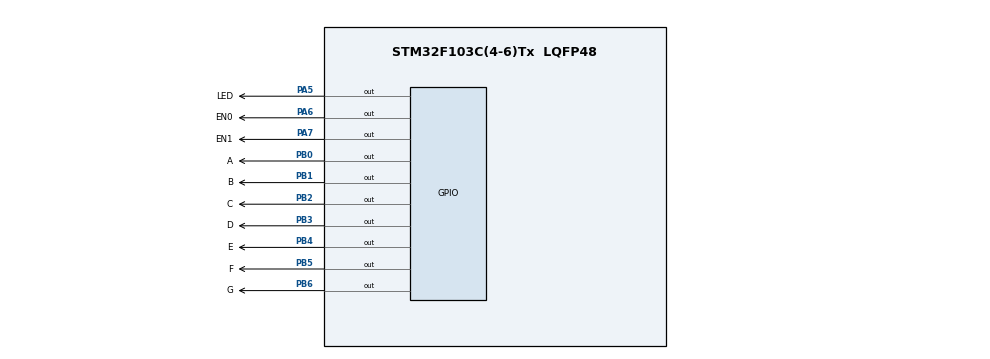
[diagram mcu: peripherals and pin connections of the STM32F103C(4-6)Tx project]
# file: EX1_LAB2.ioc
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Mcu.Family=STM32F1
Mcu.Name=STM32F103C(4-6)Tx
Mcu.Package=LQFP48
NVIC.PriorityGroup=NVIC_PRIORITYGROUP_4
NVIC.TIM2_IRQn=true\:0\:0\:false\:false\:true\:true\:true\:true
PA5.GPIO_Label=LED
PA5.PinState=GPIO_PIN_RESET
PA5.Signal=GPIO_Output
PA6.GPIO_Label=EN0
PA6.PinState=GPIO_PIN_SET
PA6.Signal=GPIO_Output
PA7.GPIO_Label=EN1
PA7.PinState=GPIO_PIN_SET
PA7.Signal=GPIO_Output
PB0.GPIO_Label=A
PB0.PinState=GPIO_PIN_SET
PB0.Signal=GPIO_Output
PB1.GPIO_Label=B
PB1.PinState=GPIO_PIN_SET
PB1.Signal=GPIO_Output
PB2.GPIO_Label=C
PB2.PinState=GPIO_PIN_SET
PB2.Signal=GPIO_Output
PB3.GPIO_Label=D
PB3.PinState=GPIO_PIN_SET
PB3.Signal=GPIO_Output
PB4.GPIO_Label=E
PB4.PinState=GPIO_PIN_SET
PB4.Signal=GPIO_Output
PB5.GPIO_Label=F
PB5.PinState=GPIO_PIN_SET
PB5.Signal=GPIO_Output
PB6.GPIO_Label=G
PB6.PinState=GPIO_PIN_SET
PB6.Signal=GPIO_Output
ProjectManager.HeapSize=0x200
ProjectManager.StackSize=0x400
ProjectManager.TargetToolchain=STM32CubeIDE
RCC.APB1Freq_Value=8000000
RCC.APB2Freq_Value=8000000
TIM2.Period=9
TIM2.Prescaler=7999
VP_SYS_VS_ND.Mode=No_Debug
VP_TIM2_VS_ClockSourceINT.Mode=Internal
board=custom

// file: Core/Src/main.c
/* USER CODE BEGIN Header */
/**
  ******************************************************************************
  * @file           : main.c
  * @brief          : Main program body
  ******************************************************************************
  * @attention
  *
  * Copyright (c) 2025 STMicroelectronics.
  * All rights reserved.
  *
  * This software is licensed under terms that can be found in the LICENSE file
  * in the root directory of this software component.
  * If no LICENSE file comes with this software, it is provided AS-IS.
  *
  ******************************************************************************
  */
/* USER CODE END Header */
#include "main.h"

TIM_HandleTypeDef htim2;

void SystemClock_Config(void);
static void MX_GPIO_Init(void);
static void MX_TIM2_Init(void);

/* USER CODE BEGIN 0 */
#define SEG_ALL_PINS (GPIO_PIN_0 | GPIO_PIN_1 | GPIO_PIN_2 | \
                      GPIO_PIN_3 | GPIO_PIN_4 | GPIO_PIN_5 | \
                      GPIO_PIN_6)

#define DIGIT_ALL_PINS (GPIO_PIN_6 | GPIO_PIN_7)

/*
 * Bit 0 → segment a
 * Bit 1 → segment b
 * ...
 * Bit 6 → segment g
 *
 * Bit bằng 1 nghĩa là segment cần sáng.
 */
static const uint8_t segPattern[10] =
{
    0x3FU, // 0
    0x06U, // 1
    0x5BU, // 2
    0x4FU, // 3
    0x66U, // 4
    0x6DU, // 5
    0x7DU, // 6
    0x07U, // 7
    0x7FU, // 8
    0x6FU  // 9
};

static uint8_t currentDigit = 0U;
static uint8_t timerCounter = 0U;
static uint8_t currentNumber = 0U;

static void disableAllDigits(void)
{
    HAL_GPIO_WritePin(
        GPIOA,
        DIGIT_ALL_PINS,
        GPIO_PIN_SET
    );
}

static void display7SEG(uint8_t number)
{
    if (number > 9U)
    {
        return;
    }

    HAL_GPIO_WritePin(
        GPIOB,
        SEG_ALL_PINS,
        GPIO_PIN_SET
    );

    HAL_GPIO_WritePin(
        GPIOB,
        (uint16_t)segPattern[number],
        GPIO_PIN_RESET
    );
}

static void update7SEG_EX1(uint8_t index, uint8_t number)
{
    if (index > 1U || number > 9U)
    {
        return;
    }

    disableAllDigits();

    display7SEG(number);

    if (index == 0U)
    {
        HAL_GPIO_WritePin(
            GPIOA,
            GPIO_PIN_6,
            GPIO_PIN_RESET
        );
    }
    else
    {
        HAL_GPIO_WritePin(
            GPIOA,
            GPIO_PIN_7,
            GPIO_PIN_RESET
        );
    }
}
/* USER CODE END 0 */

int main(void)
{

  /* MCU Configuration--------------------------------------------------------*/

  /* Reset of all peripherals, Initializes the Flash interface and the Systick. */
  HAL_Init();

  /* Configure the system clock */
  SystemClock_Config();

  /* Initialize all configured peripherals */
  MX_GPIO_Init();
  MX_TIM2_Init();
  /* USER CODE BEGIN 2 */
  disableAllDigits();

  currentDigit = 0U;
  currentNumber = 0U;
  update7SEG_EX1(currentDigit, currentNumber);

  HAL_TIM_Base_Start_IT(&htim2);
  /* USER CODE END 2 */

  /* Infinite loop */
  while (1)
  {

  }
}

void SystemClock_Config(void)
{
  RCC_OscInitTypeDef RCC_OscInitStruct = {0};
  RCC_ClkInitTypeDef RCC_ClkInitStruct = {0};

  /** Initializes the RCC Oscillators according to the specified parameters
  * in the RCC_OscInitTypeDef structure.
  */
  RCC_OscInitStruct.OscillatorType = RCC_OSCILLATORTYPE_HSI;
  RCC_OscInitStruct.HSIState = RCC_HSI_ON;
  RCC_OscInitStruct.HSICalibrationValue = RCC_HSICALIBRATION_DEFAULT;
  RCC_OscInitStruct.PLL.PLLState = RCC_PLL_NONE;
  if (HAL_RCC_OscConfig(&RCC_OscInitStruct) != HAL_OK)
  {
    Error_Handler();
  }

  /** Initializes the CPU, AHB and APB buses clocks
  */
  RCC_ClkInitStruct.ClockType = RCC_CLOCKTYPE_HCLK|RCC_CLOCKTYPE_SYSCLK
                              |RCC_CLOCKTYPE_PCLK1|RCC_CLOCKTYPE_PCLK2;
  RCC_ClkInitStruct.SYSCLKSource = RCC_SYSCLKSOURCE_HSI;
  RCC_ClkInitStruct.AHBCLKDivider = RCC_SYSCLK_DIV1;
  RCC_ClkInitStruct.APB1CLKDivider = RCC_HCLK_DIV1;
  RCC_ClkInitStruct.APB2CLKDivider = RCC_HCLK_DIV1;

  if (HAL_RCC_ClockConfig(&RCC_ClkInitStruct, FLASH_LATENCY_0) != HAL_OK)
  {
    Error_Handler();
  }
}

static void MX_TIM2_Init(void)
{

  TIM_ClockConfigTypeDef sClockSourceConfig = {0};
  TIM_MasterConfigTypeDef sMasterConfig = {0};

  htim2.Instance = TIM2;
  htim2.Init.Prescaler = 7999;
  htim2.Init.CounterMode = TIM_COUNTERMODE_UP;
  htim2.Init.Period = 9;
  htim2.Init.ClockDivision = TIM_CLOCKDIVISION_DIV1;
  htim2.Init.AutoReloadPreload = TIM_AUTORELOAD_PRELOAD_DISABLE;
  if (HAL_TIM_Base_Init(&htim2) != HAL_OK)
  {
    Error_Handler();
  }
  sClockSourceConfig.ClockSource = TIM_CLOCKSOURCE_INTERNAL;
  if (HAL_TIM_ConfigClockSource(&htim2, &sClockSourceConfig) != HAL_OK)
  {
    Error_Handler();
  }
  sMasterConfig.MasterOutputTrigger = TIM_TRGO_RESET;
  sMasterConfig.MasterSlaveMode = TIM_MASTERSLAVEMODE_DISABLE;
  if (HAL_TIMEx_MasterConfigSynchronization(&htim2, &sMasterConfig) != HAL_OK)
  {
    Error_Handler();
  }

}

static void MX_GPIO_Init(void)
{
  GPIO_InitTypeDef GPIO_InitStruct = {0};

  /* GPIO Ports Clock Enable */
  __HAL_RCC_GPIOA_CLK_ENABLE();
  __HAL_RCC_GPIOB_CLK_ENABLE();

  /*Configure GPIO pin Output Level */
  HAL_GPIO_WritePin(LED_GPIO_Port, LED_Pin, GPIO_PIN_RESET);

  /*Configure GPIO pin Output Level */
  HAL_GPIO_WritePin(GPIOA, EN0_Pin|EN1_Pin, GPIO_PIN_SET);

  /*Configure GPIO pin Output Level */
  HAL_GPIO_WritePin(GPIOB, A_Pin|B_Pin|C_Pin|D_Pin
                          |E_Pin|F_Pin|G_Pin, GPIO_PIN_SET);

  /*Configure GPIO pins : LED_Pin EN0_Pin EN1_Pin */
  GPIO_InitStruct.Pin = LED_Pin|EN0_Pin|EN1_Pin;
  GPIO_InitStruct.Mode = GPIO_MODE_OUTPUT_PP;
  GPIO_InitStruct.Pull = GPIO_NOPULL;
  GPIO_InitStruct.Speed = GPIO_SPEED_FREQ_LOW;
  HAL_GPIO_Init(GPIOA, &GPIO_InitStruct);

  /*Configure GPIO pins : A_Pin B_Pin C_Pin D_Pin
                           E_Pin F_Pin G_Pin */
  GPIO_InitStruct.Pin = A_Pin|B_Pin|C_Pin|D_Pin
                          |E_Pin|F_Pin|G_Pin;
  GPIO_InitStruct.Mode = GPIO_MODE_OUTPUT_PP;
  GPIO_InitStruct.Pull = GPIO_NOPULL;
  GPIO_InitStruct.Speed = GPIO_SPEED_FREQ_LOW;
  HAL_GPIO_Init(GPIOB, &GPIO_InitStruct);

}

/* USER CODE BEGIN 4 */
int counter = 100;
void HAL_TIM_PeriodElapsedCallback(TIM_HandleTypeDef *htim)
{
    if (htim->Instance == TIM2)
    {
        timerCounter++;

        if (timerCounter >= 50U)
        {
            timerCounter = 0U;
            update7SEG_EX1(
                currentDigit,
                currentNumber
            );

            currentDigit++;

            if (currentDigit >= 2U)
            {
                currentDigit = 0U;
                currentNumber++;

                if (currentNumber >= 10U)
                {
                    currentNumber = 0U;
                }
            }
        }
    }
}
/* USER CODE END 4 */

void Error_Handler(void)
{
  __disable_irq();
  while (1)
  {
  }
}
